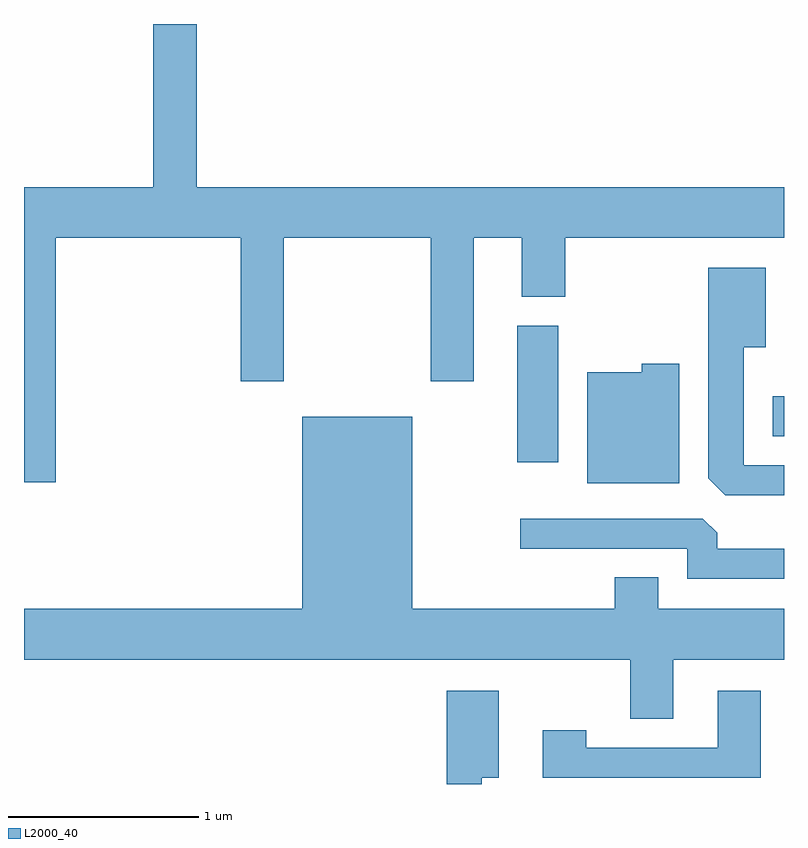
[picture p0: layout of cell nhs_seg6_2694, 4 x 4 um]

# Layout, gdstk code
import gdstk
lib = gdstk.Library(unit=1e-6, precision=1e-09)
def R(c, l, rs):  # rectangles x0, y0, x1, y1
    for r in rs: c.add(gdstk.rectangle(r[:2], r[2:], *l))
def P(c, l, *ps):  # polygons
    for p in ps: c.add(gdstk.Polygon(p, *l))
L2000_40 = (2000, 40)

nhs_seg6_2694 = lib.new_cell('nhs_seg6_2694')
R(nhs_seg6_2694, L2000_40, [(268.206,1659.856,268.424,1660.574), (269.551,1659.991,269.611,1660.204)])
P(nhs_seg6_2694, L2000_40, [(265.779,1661.036),(266.751,1661.036),(266.751,1660.281),(266.979,1660.281),(266.979,1661.036),(267.751,1661.036),(267.751,1660.281),(267.979,1660.281),(267.979,1661.036),(268.231,1661.036),(268.231,1660.726),(268.459,1660.726),(268.459,1661.036),(269.611,1661.036),(269.611,1661.304),(266.519,1661.304),(266.519,1662.162),(266.291,1662.162),(266.291,1661.304),(265.611,1661.304),(265.611,1659.751),(265.779,1659.751)],
  [(269.611,1659.839),(269.399,1659.839),(269.399,1660.461),(269.514,1660.461),(269.514,1660.879),(269.211,1660.879),(269.211,1659.772),(269.302,1659.681),(269.611,1659.681)],
  [(269.059,1660.374),(268.861,1660.374),(268.861,1660.329),(268.576,1660.329),(268.576,1659.746),(269.059,1659.746)],
  [(269.029,1658.816),(269.611,1658.816),(269.611,1659.084),(268.949,1659.084),(268.949,1659.249),(268.721,1659.249),(268.721,1659.084),(267.654,1659.084),(267.654,1660.094),(267.076,1660.094),(267.076,1659.084),(265.611,1659.084),(265.611,1658.816),(268.801,1658.816),(268.801,1658.506),(269.029,1658.506)],
  [(269.611,1659.399),(269.259,1659.399),(269.259,1659.484),(269.184,1659.559),(268.223,1659.559),(268.223,1659.401),(269.101,1659.401),(269.101,1659.241),(269.611,1659.241)],
  [(268.019,1658.196),(268.109,1658.196),(268.109,1658.654),(267.836,1658.654),(267.836,1658.162),(268.019,1658.162)],
  [(269.489,1658.654),(269.261,1658.654),(269.261,1658.354),(268.569,1658.354),(268.569,1658.444),(268.341,1658.444),(268.341,1658.196),(269.489,1658.196)])

lib.write_gds('nhs_seg6_2694.gds')
